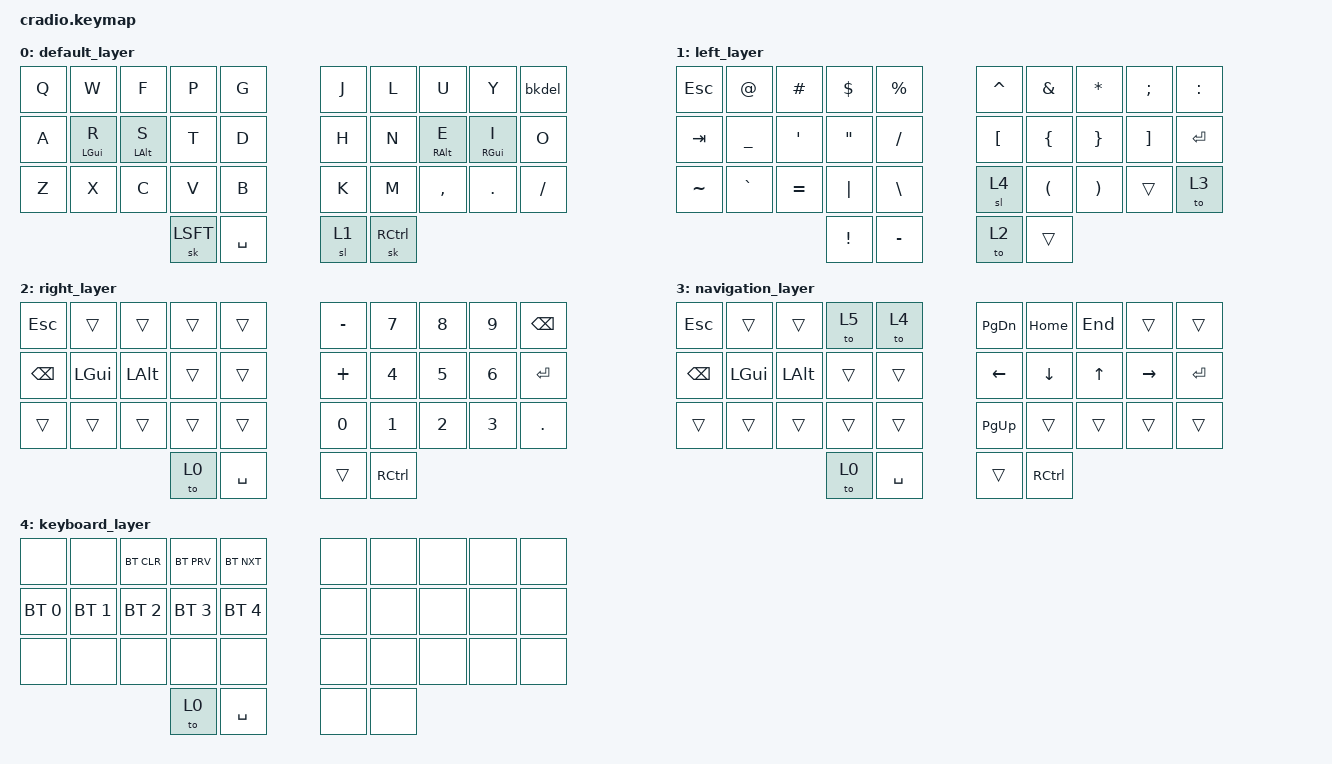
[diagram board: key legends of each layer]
/*

 *
 * SPDX-License-Identifier: MIT
 */

#include <behaviors.dtsi>
#include <dt-bindings/zmk/keys.h>
#include <dt-bindings/zmk/bt.h>

&mt {
  //  flavor = "tap-preferred";
   // tapping_term_ms = <200>;
};

/ { 

    combos {
        compatible = "zmk,combos";
          combo_esc {
            timeout-ms = <50>;
            key-positions = <0 1>;
            bindings = <&kp ESC>;
        };
        
           combo_tab {
            timeout-ms = <50>;
            key-positions = <10 11>;
            bindings = <&kp TAB>;
        };
        
           combo_ralt {
            timeout-ms = <50>;
            key-positions = <17 16>;
            bindings = <&kp RALT>;
        };
           combo_lalt {
            timeout-ms = <50>;
            key-positions = <11 12>;
            bindings = <&kp LALT>;
        };
           combo_lgui {
            timeout-ms = <50>;
            key-positions = <12 13>;
            bindings = <&kp LGUI>;
        };
           combo_rgui {
            timeout-ms = <50>;
            key-positions = <17 18>;
            bindings = <&kp RGUI>;
        };
    };

   behaviors {
        bkdel: backspace_del {
            compatible = "zmk,behavior-mod-morph";
            label = "BACKSPACE DEL";
            #binding-cells = <0>;
            bindings = <&kp BKSP>, <&kp DEL>;
            mods = <(MOD_LSFT|MOD_RSFT)>;
        };
        hm: homerow_mods {
            compatible = "zmk,behavior-hold-tap";
            label = "HOMEROW_MODS";
            #binding-cells = <2>;
            tapping-term-ms = <200>;
            quick_tap_ms = <0>;
            flavor = "tap-preferred";
            bindings = <&kp>, <&kp>;
        };
    };

   keymap {
      compatible = "zmk,keymap";
                
 		default_layer {
      bindings = <
        &kp Q &kp W &kp F &kp P &kp G 					&kp J &kp L  &kp U    &kp Y   &bkdel
        &kp A &hm LGUI R &hm LALT S &kp T &kp D 			 &kp H &kp N &hm RALT E &hm RGUI I &kp O
        &kp Z &kp X &kp C &kp V &kp B				    &kp K &kp M  &kp COMMA &kp DOT &kp FSLH
                      &sk LSFT &kp SPACE  				&sl 1 &sk RCTL 
      >;
		};

    left_layer {
      bindings = <
        &kp ESC &kp AT &kp HASH &kp DLLR &kp PERCENT		        &kp CARET &kp AMPS &kp STAR &kp SEMI &kp COLON
        &kp TAB &kp UNDER &kp APOSTROPHE &kp DQT &kp FSLH 		&kp LBKT &kp LBRC  &kp RBRC &kp RBKT  &kp ENTER
        &kp TILDE &kp GRAVE	&kp EQUAL &kp PIPE &kp BSLH	          &sl 4 &kp LPAR &kp RPAR &trans  &to 3
                                 &kp EXCL  &kp MINUS   					&to 2 &trans
      >;
		};

		right_layer {
      bindings = <
        &kp ESC &trans &trans &trans &trans    			&kp MINUS  &kp N7 &kp N8 &kp N9 &kp BKSP
        &kp BKSP  &kp LGUI &kp LALT &trans  &trans 			&kp PLUS &kp N4  &kp N5  &kp N6 &kp ENTER
        &trans  &trans &trans &trans   &trans    			&kp N0 &kp N1 &kp N2 &kp N3  &kp DOT
                &to 0 &kp SPACE  				&trans  &kp RCTL
      >;
		};

		navigation_layer {
      bindings = <
        &kp ESC &trans &trans &to 5 &to 4   		&kp PG_DN &kp HOME  &kp END &trans &trans
        &kp BKSP  &kp LGUI &kp LALT &trans  &trans 			&kp LEFT  &kp DOWN  &kp UP  &kp RIGHT &kp ENTER
        &trans  &trans &trans &trans   &trans    			&kp PG_UP &trans &trans &trans &trans
                &to 0 &kp SPACE 				&trans  &kp RCTL
     >;
		};

		keyboard_layer {
      bindings = <
        &none &none &bt BT_CLR &bt BT_PRV &bt BT_NXT &none &none &none &none &none 
        &bt BT_SEL 0  &bt BT_SEL 1 &bt BT_SEL 2 &bt BT_SEL 3 &bt BT_SEL 4 &none &none &none &none &none 
        &none &none &none &none &none &none &none &none &none &none 
                             &to 0 &kp SPACE &none &none
     >;
		};
	};
};
